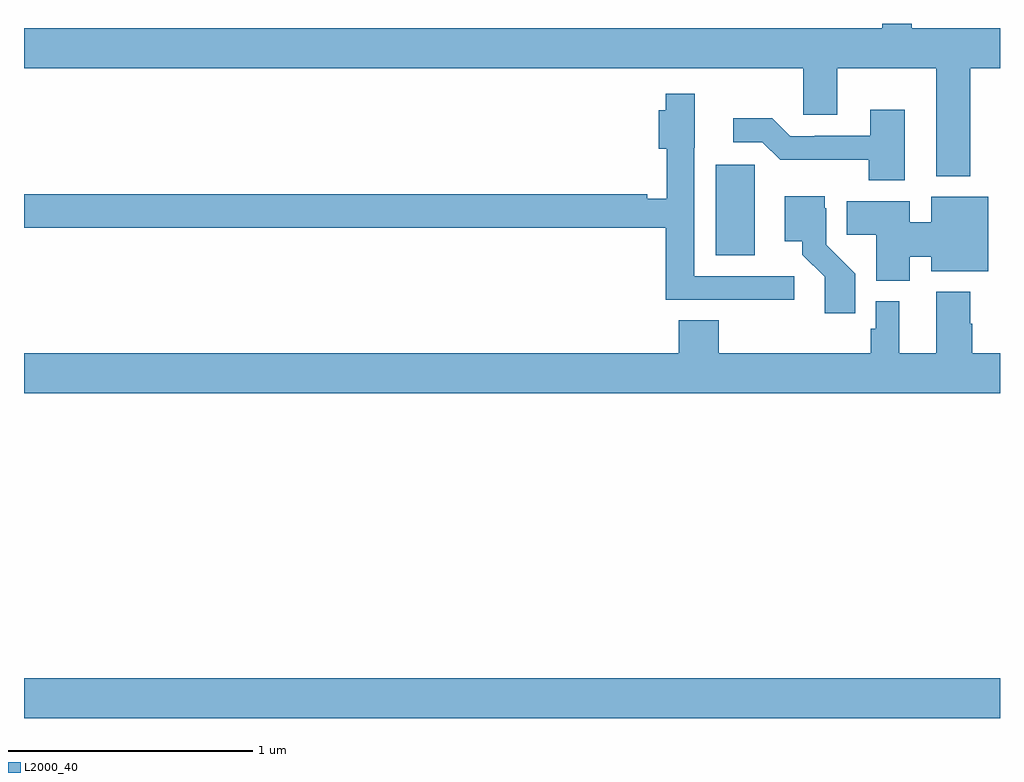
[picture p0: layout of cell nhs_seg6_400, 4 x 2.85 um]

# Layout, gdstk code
import gdstk
lib = gdstk.Library(unit=1e-6, precision=1e-09)
def R(c, l, rs):  # rectangles x0, y0, x1, y1
    for r in rs: c.add(gdstk.rectangle(r[:2], r[2:], *l))
def P(c, l, *ps):  # polygons
    for p in ps: c.add(gdstk.Polygon(p, *l))
L2000_40 = (2000, 40)

nhs_seg6_400 = lib.new_cell('nhs_seg6_400')
R(nhs_seg6_400, L2000_40, [(133,964.652,137,964.816), (135.836,966.55,135.994,966.921)])
P(nhs_seg6_400, L2000_40, [(136.879,967.316),(137,967.316),(137,967.48),(136.639,967.48),(136.639,967.5),(136.518,967.5),(136.518,967.48),(133,967.48),(133,967.316),(136.194,967.316),(136.194,967.126),(136.333,967.126),(136.333,967.316),(136.739,967.316),(136.739,966.875),(136.879,966.875)],
  [(136.156,966.465),(135.747,966.465),(135.747,966.99),(135.748,966.99),(135.748,967.213),(135.631,967.213),(135.631,967.144),(135.602,967.144),(135.602,966.986),(135.635,966.986),(135.635,966.782),(135.554,966.782),(135.554,966.8),(133,966.8),(133,966.664),(135.631,966.664),(135.631,966.369),(135.931,966.369),(135.931,966.367),(136.156,966.367)],
  [(136.609,967.147),(136.469,967.147),(136.469,967.041),(136.24,967.041),(136.24,967.038),(136.14,967.038),(136.067,967.111),(135.906,967.111),(135.906,967.014),(136.026,967.014),(136.099,966.942),(136.462,966.942),(136.462,966.857),(136.609,966.857)],
  [(136.406,966.474),(136.287,966.593),(136.287,966.744),(136.282,966.744),(136.282,966.793),(136.118,966.793),(136.118,966.608),(136.19,966.608),(136.19,966.553),(136.281,966.463),(136.281,966.312),(136.406,966.312)],
  [(136.63,966.544),(136.718,966.544),(136.718,966.485),(136.951,966.485),(136.951,966.79),(136.718,966.79),(136.718,966.686),(136.63,966.686),(136.63,966.772),(136.372,966.772),(136.372,966.634),(136.493,966.634),(136.493,966.446),(136.63,966.446)],
  [(137,966.148),(136.887,966.148),(136.887,966.269),(136.879,966.269),(136.879,966.4),(136.739,966.4),(136.739,966.148),(136.588,966.148),(136.588,966.361),(136.491,966.361),(136.491,966.249),(136.471,966.249),(136.471,966.148),(135.848,966.148),(135.848,966.284),(135.683,966.284),(135.683,966.148),(133,966.148),(133,965.984),(137,965.984)])

lib.write_gds('nhs_seg6_400.gds')
